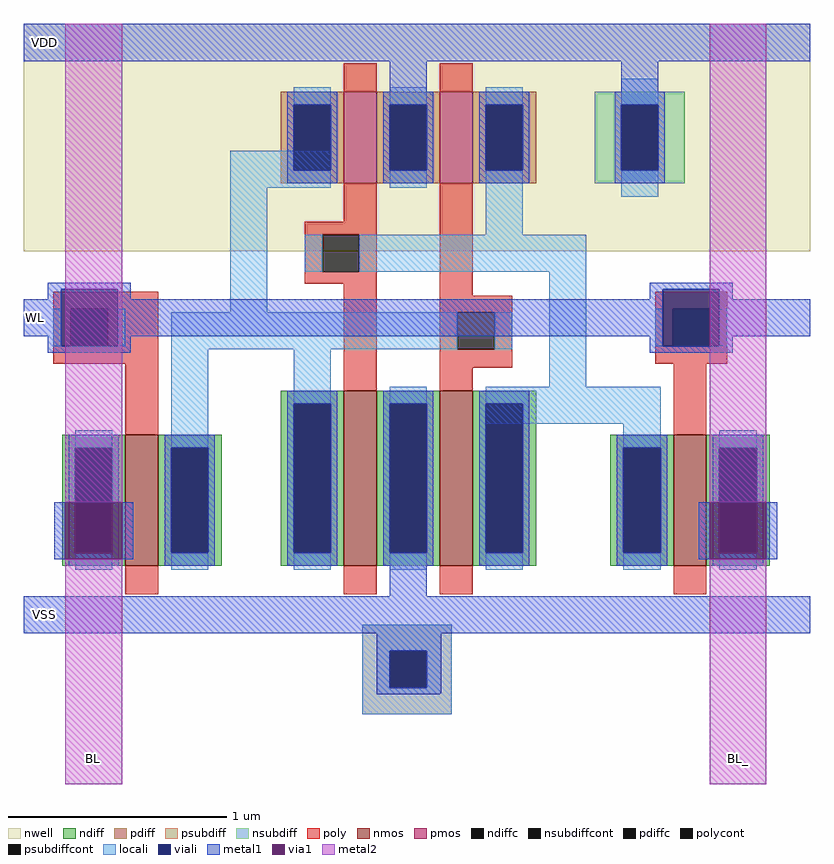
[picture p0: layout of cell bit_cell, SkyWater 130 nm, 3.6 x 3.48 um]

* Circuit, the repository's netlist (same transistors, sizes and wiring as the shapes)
* SPICE3 file created from bit_cell.ext - technology: sky130A

X0 a_182_n47# a_58_30# VDD VDD sky130_fd_pr__pfet_01v8 ad=0.1218 pd=1.42 as=0.1218 ps=1.42 w=0.42 l=0.15
X1 a_58_30# a_182_n47# VDD VDD sky130_fd_pr__pfet_01v8 ad=0.1218 pd=1.42 as=0.121825 ps=1.425 w=0.42 l=0.15
X2 a_182_n47# a_58_30# VSS VSS sky130_fd_pr__nfet_01v8 ad=0.232 pd=2.18 as=0.232 ps=2.18 w=0.8 l=0.15
X3 a_58_30# a_182_n47# VSS VSS sky130_fd_pr__nfet_01v8 ad=0.406 pd=3.96 as=0.232025 ps=2.185 w=0.8 l=0.15
X4 a_182_n47# WL BL VSS sky130_fd_pr__nfet_01v8 ad=0.174 pd=1.78 as=0.174 ps=1.78 w=0.6 l=0.15
X5 BL_ WL a_58_30# VSS sky130_fd_pr__nfet_01v8 ad=0.174 pd=1.78 as=0 ps=0 w=0.6 l=0.15

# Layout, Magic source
magic
tech sky130A
magscale 1 2
<< nwell >>
rect 0 488 199 696
rect 505 488 720 696
<< psubdiff >>
rect 310 122 392 146
rect 310 88 335 122
rect 369 88 392 122
rect 310 64 392 88
<< nsubdiff >>
rect 523 622 605 634
rect 523 562 547 622
rect 581 562 605 622
rect 523 550 605 562
<< psubdiffcont >>
rect 335 88 369 122
<< nsubdiffcont >>
rect 547 562 581 622
<< poly >>
rect 293 515 323 524
rect 257 503 323 515
rect 257 469 273 503
rect 307 469 323 503
rect 257 458 323 469
rect 27 435 123 451
rect 27 401 43 435
rect 77 401 123 435
rect 27 385 123 401
rect 293 386 323 458
rect 381 447 411 524
rect 381 432 447 447
rect 381 398 397 432
rect 431 398 447 432
rect 93 346 123 385
rect 381 381 447 398
rect 578 435 644 451
rect 578 401 594 435
rect 628 401 644 435
rect 578 385 644 401
rect 595 346 625 385
<< polycont >>
rect 273 469 307 503
rect 43 401 77 435
rect 397 398 431 432
rect 594 401 628 435
<< locali >>
rect 547 622 581 646
rect 189 546 281 580
rect 27 401 34 435
rect 86 401 93 435
rect 189 432 223 546
rect 423 503 457 547
rect 547 538 581 562
rect 257 469 273 503
rect 307 469 515 503
rect 135 398 397 432
rect 431 398 447 432
rect 135 324 169 398
rect 247 364 281 398
rect 481 364 515 469
rect 578 401 585 435
rect 637 401 644 435
rect 423 330 583 364
rect 549 324 583 330
rect 310 122 392 146
rect 310 88 335 122
rect 369 88 392 122
rect 310 64 392 88
<< viali >>
rect 547 562 581 622
rect 34 435 86 453
rect 34 401 43 435
rect 43 401 77 435
rect 77 401 86 435
rect 585 435 637 453
rect 585 401 594 435
rect 594 401 628 435
rect 628 401 637 435
rect 335 88 369 122
<< metal1 >>
rect 0 662 720 696
rect 335 634 369 662
rect 547 634 581 662
rect 541 622 587 634
rect 541 562 547 622
rect 581 562 587 622
rect 541 550 587 562
rect 22 453 98 459
rect 22 444 34 453
rect 0 410 34 444
rect 22 401 34 410
rect 86 444 98 453
rect 573 453 649 459
rect 573 444 585 453
rect 86 410 585 444
rect 86 401 98 410
rect 22 395 98 401
rect 573 401 585 410
rect 637 444 649 453
rect 637 410 720 444
rect 637 401 649 410
rect 573 395 649 401
rect 28 206 38 258
rect 90 206 100 258
rect 618 206 628 258
rect 680 206 690 258
rect 335 172 369 200
rect 0 138 720 172
rect 323 122 382 138
rect 323 88 335 122
rect 369 88 382 122
rect 323 83 382 88
rect 323 82 381 83
<< via1 >>
rect 38 206 90 258
rect 628 206 680 258
<< metal2 >>
rect 38 258 90 696
rect 38 0 90 206
rect 628 258 680 696
rect 628 0 680 206
use sky130_fd_pr__pfet_01v8_4Y88KP  m1
transform -1 0 308 0 1 592
box -109 -104 109 104
use sky130_fd_pr__pfet_01v8_4Y88KP  m2
transform 1 0 396 0 1 592
box -109 -104 109 104
use sky130_fd_pr__nfet_01v8_BBXUYH  m3
transform -1 0 308 0 1 280
box -73 -106 73 106
use sky130_fd_pr__nfet_01v8_BBXUYH  m4
transform 1 0 396 0 1 280
box -73 -106 73 106
use sky130_fd_pr__nfet_01v8_FB3UY2  m6
transform 1 0 610 0 1 260
box -73 -86 73 86
use sky130_fd_pr__nfet_01v8_FB3UY2  sky130_fd_pr__nfet_01v8_FB3UY2_0
transform 1 0 108 0 1 260
box -73 -86 73 86
<< labels >>
rlabel metal2 628 0 680 47 0 BL_
rlabel metal1 0 138 38 172 0 VSS
rlabel metal1 0 410 22 444 0 WL
rlabel metal1 0 662 38 696 0 VDD
rlabel metal2 38 0 90 47 0 BL
<< end >>

# cell sky130_fd_pr__pfet_01v8_4Y88KP: kit device sky130_fd_pr__pfet_01v8, w 0.42 l 0.15 m 1 nf 1 diffcov 100 polycov 100 guard 0 glc 0 grc 0 gtc 0 gbc 0 tbcov 100 rlcov 100 topc 0 botc 0 poverlap 0 doverlap 0 lmin 0.15 wmin 0.42 compatible {sky130_fd_pr__pfet_01v8 sky130_fd_pr__pfet_01v8_lvt sky130_fd_pr__pfet_01v8_hvt sky130_fd_pr__pfet_g5v0d10v5} full_metal 0 viasrc 100 viadrn 100 viagate 100 viagb 0 viagr 0 viagl 0 viagt 0

# cell sky130_fd_pr__nfet_01v8_BBXUYH: kit device sky130_fd_pr__nfet_01v8, w 0.8 l 0.150 m 1 nf 1 diffcov 100 polycov 100 guard 0 glc 0 grc 0 gtc 0 gbc 0 tbcov 100 rlcov 100 topc 0 botc 0 poverlap 0 doverlap 0 lmin 0.15 wmin 0.42 compatible {sky130_fd_pr__nfet_01v8 sky130_fd_pr__nfet_01v8_lvt sky130_fd_bs_flash__special_sonosfet_star sky130_fd_pr__nfet_g5v0d10v5 sky130_fd_pr__nfet_05v0_nvt sky130_fd_pr__nfet_03v3_nvt} full_metal 0 viasrc 100 viadrn 100 viagate 100 viagb 0 viagr 0 viagl 0 viagt 0

# cell sky130_fd_pr__nfet_01v8_FB3UY2: kit device sky130_fd_pr__nfet_01v8, w 0.6 l 0.150 m 1 nf 1 diffcov 100 polycov 100 guard 0 glc 0 grc 0 gtc 0 gbc 0 tbcov 100 rlcov 100 topc 0 botc 0 poverlap 0 doverlap 0 lmin 0.15 wmin 0.42 compatible {sky130_fd_pr__nfet_01v8 sky130_fd_pr__nfet_01v8_lvt sky130_fd_bs_flash__special_sonosfet_star sky130_fd_pr__nfet_g5v0d10v5 sky130_fd_pr__nfet_05v0_nvt sky130_fd_pr__nfet_03v3_nvt} full_metal 0 viasrc 100 viadrn 100 viagate 100 viagb 0 viagr 0 viagl 0 viagt 0
